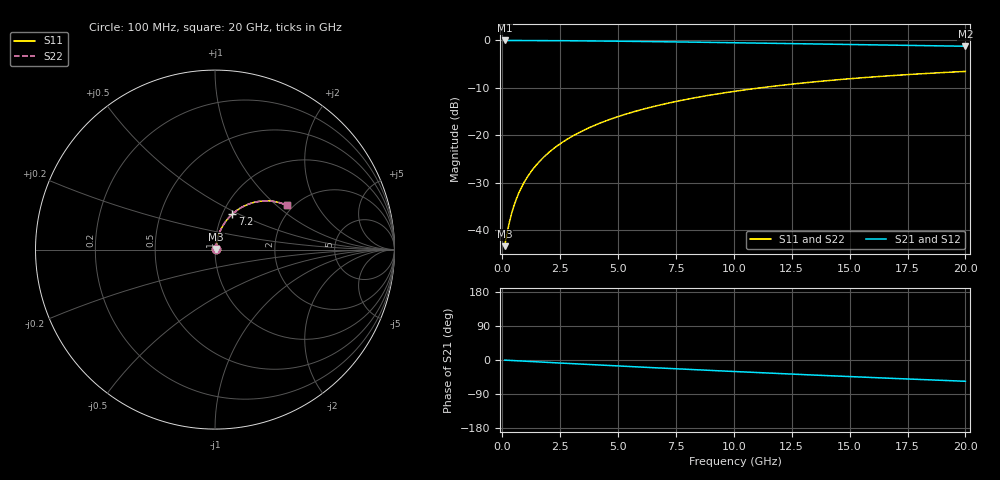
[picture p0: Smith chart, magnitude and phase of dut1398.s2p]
! Touchstone file exported from HFSS 2026.1.0
!  File:  C:/ffzhzh/LocalFiles/Ansys_Project_Files/temp_train_BSMRDL_1398_1783179813_18472.aedt
!  Generated:  11:44:53 PM Jul  4, 2026
!  Design:  BSMRDL
!  Project:  temp_train_BSMRDL_1398_1783179813_18472
! Variables:
!  h_bsmrdl = 4.69um
!  h_ox = 20um
!  h_rdl = 5um
!  h_sub = 80um
!  h_tmrdl = 5um
!  h_tsv = 80um
!  h_via = 3um
!  l_bsmrdl = 904.37um
!  l_sub = 1304.37um
!  l_tmrdl = 200um
!  m_sub = 200um
!  pitch = 31.08um
!  r_tsv = 6um
!  s_tmrdl = 10um
!  w_bsmrdl = 11.63um
!  w_sub = 500um
!  w_tmrdl = 12um
!  x_tsv_center1 = 206um
!  x_tsv_center2 = 1122um
!  x_tsv_center3 = 1334um
!  x_tsv_center4 = 2250um
!  x_tsv_center5 = 2462um
!  x_tsv_center6 = 3378um
# GHz S MA R 50.000000
! Terminal data exported
! Port[1] = BSM_RDL1_1_T1
! Port[2] = BSM_RDL1_1_T2
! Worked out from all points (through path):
!   200 points, 100 MHz to 20 GHz, reference 50 ohm
!   highest |S21| = -0.05 dB at 100 MHz (marker M1); lowest = -1.3 dB at 20 GHz (marker M2)
!   group delay of S21, straight-line fit = 7.79 ps
!   lowest |S11| = -43.3 dB at 100 MHz (marker M3), VSWR 1.01, Z = 50.6 + j0.351 ohm
!   |S11| at or under -10 dB: start of sweep to 11.16 GHz
!   |S22| runs from -43.3 to -6.6 dB; largest |S21 - S12| = 1e-14
!   S11 on the Smith chart (normalised r, x): 100 MHz: 1.01, +0.01; 7.2 GHz: 1.11, +0.46; 20 GHz: 1.85, +1.17
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0.1  0.006829 30.5  0.9941 -0.3  0.9941 -0.3  0.006829 30.5
! Gamma 0 0 0 0
! Port Impedance 50 0 50 0
0.3  0.01201 58.2  0.9938 -1.0  0.9938 -1.0  0.01201 58.2
0.4  0.01501 63.8  0.9936 -1.3  0.9936 -1.3  0.01501 63.8
0.5  0.01808 67.4  0.9934 -1.6  0.9934 -1.6  0.01808 67.4
0.6  0.02118 70.0  0.9932 -2.0  0.9932 -2.0  0.02118 70.0
0.8  0.02745 73.2  0.9929 -2.6  0.9929 -2.6  0.02745 73.2
1  0.03378 75.0  0.9925 -3.2  0.9925 -3.2  0.03378 75.0
1.2  0.04014 76.0  0.9922 -3.9  0.9922 -3.9  0.04014 76.0
1.4  0.04652 76.6  0.9917 -4.5  0.9917 -4.5  0.04652 76.6
1.7  0.05609 76.9  0.991 -5.5  0.991 -5.5  0.05609 76.9
2.2  0.07199 76.7  0.9895 -7.0  0.9895 -7.0  0.07199 76.7
2.8  0.09087 75.7  0.9874 -8.9  0.9874 -8.9  0.09088 75.7
3.5  0.1126 74.1  0.9844 -11.1  0.9844 -11.1  0.1126 74.1
4.2  0.1338 72.4  0.9809 -13.3  0.9809 -13.3  0.1338 72.3
5  0.1574 70.2  0.9764 -15.7  0.9764 -15.7  0.1574 70.2
6.8  0.2081 65.2  0.9649 -21.1  0.9649 -21.1  0.2082 65.2
7.2  0.2189 64.1  0.9621 -22.3  0.9621 -22.3  0.219 64.1
8.6  0.2553 60.3  0.9519 -26.4  0.9519 -26.4  0.2553 60.3
10.1  0.2919 56.3  0.9404 -30.6  0.9404 -30.6  0.2919 56.2
13.4  0.3633 47.7  0.914 -39.6  0.914 -39.6  0.3634 47.6
16.7  0.4225 39.5  0.8879 -48.1  0.8879 -48.1  0.4225 39.4
20  0.4698 31.7  0.8639 -56.1  0.8639 -56.1  0.4699 31.7
